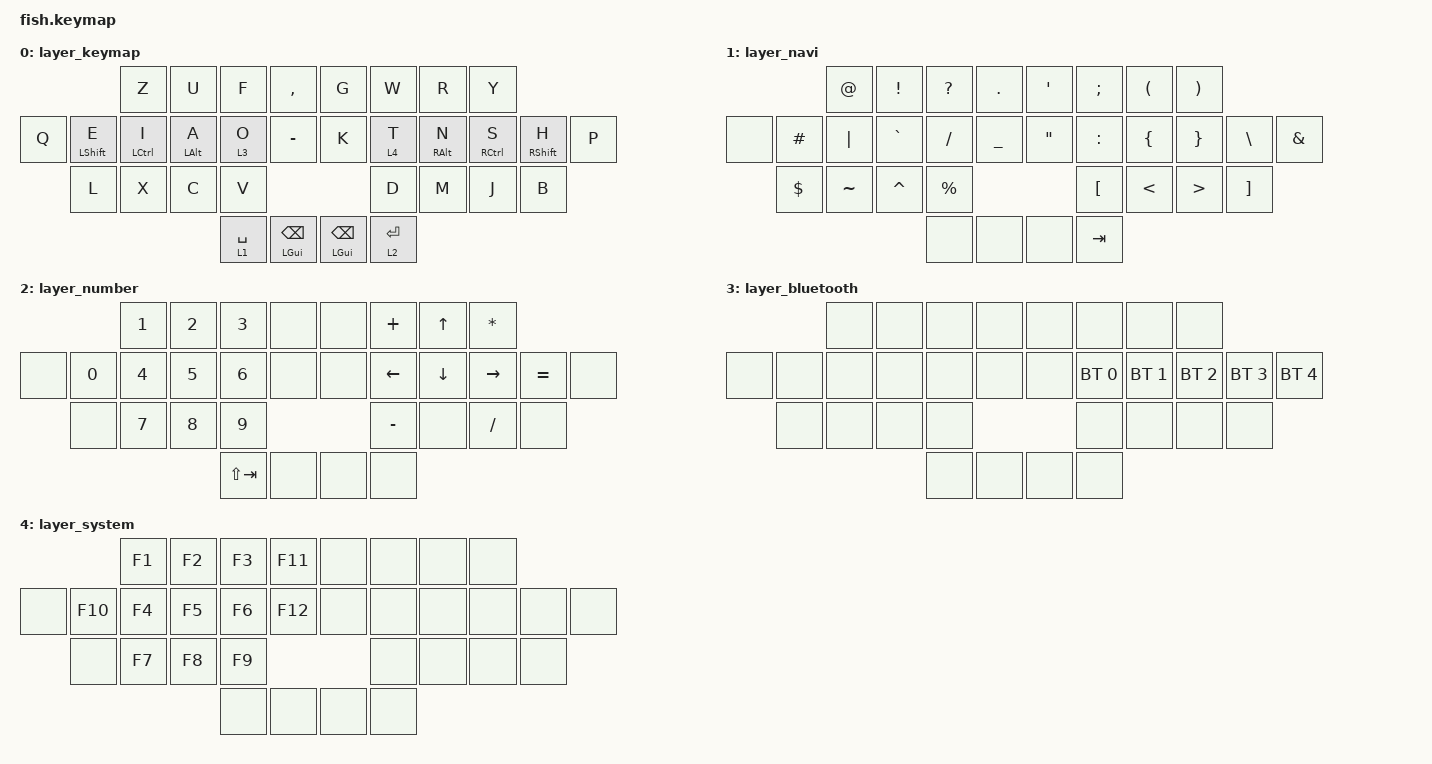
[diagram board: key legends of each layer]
// キーマップを更新する方法は https://o24.works/fish/guide を参照
// 視覚的に編集するには https://o24.works/fish/editor を参照


// 定義を呼んでくる
#include <behaviors.dtsi>
#include <dt-bindings/zmk/keys.h>
#include <dt-bindings/zmk/mouse.h>
#include <dt-bindings/zmk/bt.h>
#include <dt-bindings/zmk/outputs.h>
#include <dt-bindings/zmk/pointing.h>


// 特殊入力の挙動を調整できる

&mt {
    flavor = "tap-preferred";
    tapping-term-ms = <225>;
    quick-tap-ms = <200>;
    require-prior-idle-ms = <150>;
};

&lt {
    flavor = "balanced";
    tapping-term-ms = <175>;
    quick-tap-ms = <200>;
};

&sk {
};

&sl {
};

&caps_word {
};

&key_repeat {
};


/ {
    // 独自の入力を定義できる（上級者向け）

    behaviors {
    };

    macros {
    };

    conditional_layers {
    };


    // 複数キーの同時押しに特別の入力を設定できる
    // キー番号早見表：
    //       0  1  2  3     4  5  6  7
    // 8  9 10 11 12 13    14 15 16 17 18 19
    //   20 21 22 23          24 25 26 27
    //            28 29    30 31

    combos {
        compatible = "zmk,combos";
        timeout-ms = <100>;
        require-prior-idle-ms = <150>;

        combo_lang2 {
            key-positions = <11 12>;
            bindings = <&kp LANG2>;
        };

        combo_lang1 {
            key-positions = <15 16>;
            bindings = <&kp LANG1>;
        };

        combo_reset_L {
            key-positions = <3 8 13>;
            bindings = <&bootloader>;
        };

        combo_reset_R {
            key-positions = <4 14 19>;
            bindings = <&bootloader>;
        };

        combo_studio_unlock {
            key-positions = <20 21 22 23>;
            bindings = <&studio_unlock>;
        };

        combo_shift {
            key-positions = <28 31>;
            bindings = <&kp LSHFT>;
        };

        combo_screenshot5 {
            key-positions = <10 11 12>;
            bindings = <&kp LS(LG(N5))>;
        };

        combo_screenshot4 {
            key-positions = <0 1 2>;
            bindings = <&kp LS(LG(N4))>;
        };

        combo_esc {
            key-positions = <0 1>;
            bindings = <&kp ESC>;
        };

        combo_inspector {
            key-positions = <21 22 23>;
            bindings = <&kp LG(LA(I))>;
        };
    };
    

    // キーに入力を割り当てる
    // 型（&...）は https://zmk.dev/docs/behaviors/... を参照
    // キーコードは https://zmk.dev/docs/codes/... を参照

    keymap {
        compatible = "zmk,keymap";

        layer_keymap {
            bindings = <
                        &kp Z       &kp U       &kp F       &kp COMMA           &kp G       &kp W       &kp R       &kp Y       
&kp Q       &mt LSHFT E &mt LCTRL I &mt LALT A  &lt 3 O     &kp MINUS           &kp K       &lt 4 T     &mt RALT N  &mt RCTRL S &mt RSHFT H &kp P       
            &kp L       &kp X       &kp C       &kp V                                       &kp D       &kp M       &kp J       &kp B       
                                                &lt 1 SPACE &mt LGUI BSPC       &mt LGUI BSPC &lt 2 RET 
            >;
        };

        layer_navi {
            bindings = <
                        &kp AT      &kp EXCL    &kp QMARK   &kp DOT             &kp SQT     &kp SEMI    &kp LPAR    &kp RPAR    
&none       &kp HASH    &kp PIPE    &kp GRAVE   &kp FSLH    &kp UNDER           &kp DQT     &kp COLON   &kp LBRC    &kp RBRC    &kp BSLH    &kp AMPS    
            &kp DLLR    &kp TILDE   &kp CARET   &kp PRCNT                                   &kp LBKT    &kp LT      &kp GT      &kp RBKT    
                                                &none       &none               &none       &kp TAB     
            >;
        };

        layer_number {
            bindings = <
                        &kp N1      &kp N2      &kp N3      &none               &none       &kp PLUS    &kp UP      &kp STAR    
&none       &kp N0      &kp N4      &kp N5      &kp N6      &none               &none       &kp LEFT    &kp DOWN    &kp RIGHT   &kp EQUAL   &none       
            &none       &kp N7      &kp N8      &kp N9                                      &kp MINUS   &none       &kp FSLH    &none       
                                                &kp LS(TAB) &none               &none       &none       
            >;
        };

        layer_bluetooth {
            bindings = <
                        &none       &none       &none       &none               &none       &none       &none       &none       
&none       &none       &none       &none       &none       &none               &none       &bt BT_SEL 0 &bt BT_SEL 1 &bt BT_SEL 2 &bt BT_SEL 3 &bt BT_SEL 4 
            &none       &none       &none       &none                                       &none       &none       &none       &none       
                                                &none       &none               &none       &none       
            >;
        };

        layer_system {
            bindings = <
                        &kp F1      &kp F2      &kp F3      &kp F11             &none       &none       &none       &none       
&none       &kp F10     &kp F4      &kp F5      &kp F6      &kp F12             &none       &none       &none       &none       &none       &none       
            &none       &kp F7      &kp F8      &kp F9                                      &none       &none       &none       &none       
                                                &none       &none               &none       &none       
            >;
        };
    };
};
